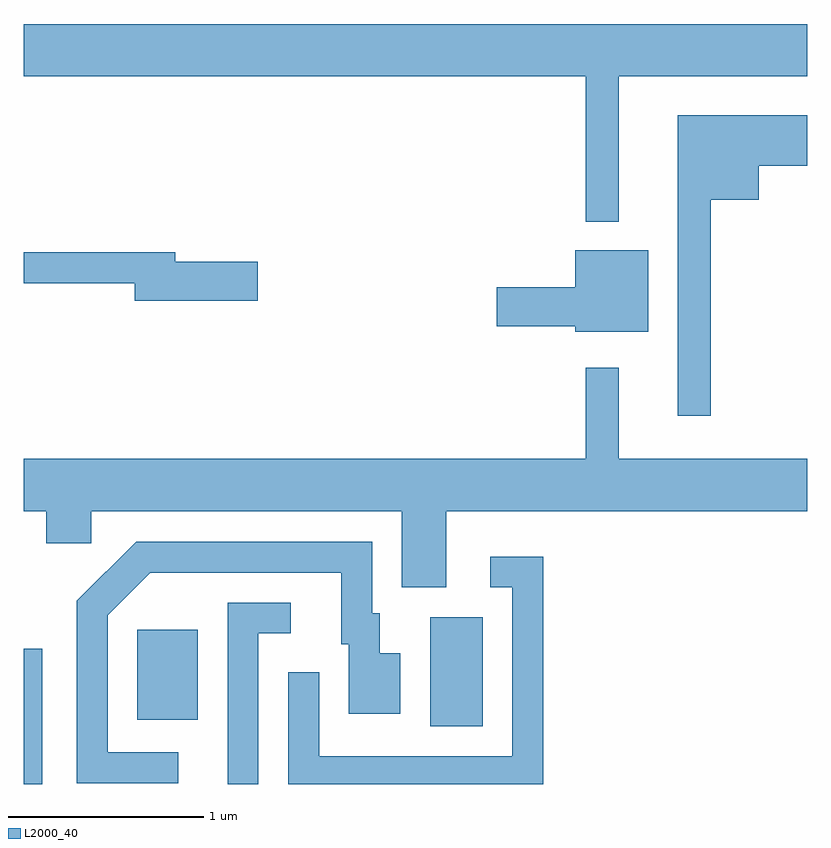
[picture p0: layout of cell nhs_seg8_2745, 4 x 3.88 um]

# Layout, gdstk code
import gdstk
lib = gdstk.Library(unit=1e-6, precision=1e-09)
def R(c, l, rs):  # rectangles x0, y0, x1, y1
    for r in rs: c.add(gdstk.rectangle(r[:2], r[2:], *l))
def P(c, l, *ps):  # polygons
    for p in ps: c.add(gdstk.Polygon(p, *l))
L2000_40 = (2000, 40)

nhs_seg8_2745 = lib.new_cell('nhs_seg8_2745')
R(nhs_seg8_2745, L2000_40, [(267.611,1848.342,267.704,1849.033), (269.686,1848.636,269.954,1849.194), (268.191,1848.671,268.499,1849.129)])
P(nhs_seg8_2745, L2000_40, [(270.649,1851.956),(271.611,1851.956),(271.611,1852.224),(267.611,1852.224),(267.611,1851.956),(270.481,1851.956),(270.481,1851.213),(270.649,1851.213)],
  [(271.119,1851.326),(271.364,1851.326),(271.364,1851.501),(271.611,1851.501),(271.611,1851.759),(270.951,1851.759),(270.951,1850.223),(271.119,1850.223)],
  [(270.799,1851.069),(270.426,1851.069),(270.426,1850.879),(270.026,1850.879),(270.026,1850.681),(270.426,1850.681),(270.426,1850.651),(270.799,1850.651)],
  [(268.804,1851.009),(268.384,1851.009),(268.384,1851.059),(267.611,1851.059),(267.611,1850.901),(268.176,1850.901),(268.176,1850.811),(268.804,1850.811)],
  [(269.769,1849.736),(271.611,1849.736),(271.611,1850.004),(270.649,1850.004),(270.649,1850.468),(270.481,1850.468),(270.481,1850.004),(267.611,1850.004),(267.611,1849.736),(267.726,1849.736),(267.726,1849.571),(267.954,1849.571),(267.954,1849.736),(269.541,1849.736),(269.541,1849.346),(269.769,1849.346)],
  [(268.398,1848.504),(268.039,1848.504),(268.039,1849.204),(268.257,1849.421),(269.231,1849.421),(269.231,1849.056),(269.271,1849.056),(269.271,1848.701),(269.534,1848.701),(269.534,1849.009),(269.429,1849.009),(269.429,1849.214),(269.389,1849.214),(269.389,1849.579),(268.184,1849.579),(267.881,1849.277),(267.881,1848.346),(268.398,1848.346)],
  [(270.264,1849.504),(269.993,1849.504),(269.993,1849.346),(270.106,1849.346),(270.106,1848.484),(269.119,1848.484),(269.119,1848.913),(268.961,1848.913),(268.961,1848.342),(270.264,1848.342)],
  [(268.809,1849.111),(268.973,1849.111),(268.973,1849.269),(268.651,1849.269),(268.651,1848.342),(268.809,1848.342)])

lib.write_gds('nhs_seg8_2745.gds')
